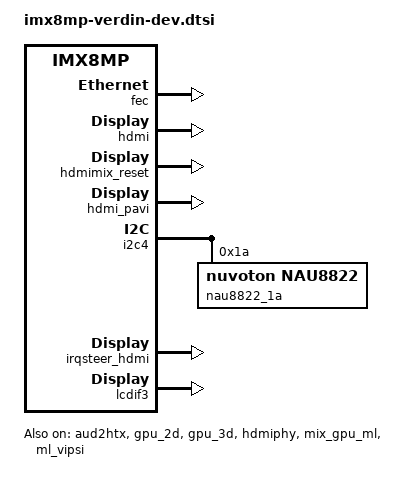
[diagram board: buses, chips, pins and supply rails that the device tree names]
// SPDX-License-Identifier: GPL-2.0+ OR MIT
/*
 * Copyright 2020 Toradex
 */

#include "imx8mp-verdin-dahlia.dtsi"

/ {
	sound_card: sound-card {
		compatible = "simple-audio-card";
		simple-audio-card,bitclock-master = <&dailink_master>;
		simple-audio-card,format = "i2s";
		simple-audio-card,frame-master = <&dailink_master>;
		simple-audio-card,name = "imx8mp-nau8822";
		simple-audio-card,routing =
			"Headphones", "LHP",
			"Headphones", "RHP",
			"Speaker", "LSPK",
			"Speaker", "RSPK",
			"Line Out", "AUXOUT1",
			"Line Out", "AUXOUT2",
			"LAUX", "Line In",
			"RAUX", "Line In",
			"LMICP",    "Mic In",
			"RMICP",    "Mic In";
		simple-audio-card,widgets =
			"Headphones", "Headphones",
			"Line Out", "Line Out",
			"Speaker", "Speaker",
			"Microphone", "Mic In",
			"Line", "Line In";

		dailink_master: simple-audio-card,codec {
			sound-dai = <&nau8822_1a>;
			clocks = <&audiomix_clk IMX8MP_CLK_AUDIOMIX_SAI1_MCLK1>;
		};

		simple-audio-card,cpu {
			sound-dai = <&sai1>;
		};
	};

	sound-hdmi {
		compatible = "fsl,imx-audio-cdnhdmi";
		model = "audio-hdmi";
		audio-cpu = <&aud2htx>;
		hdmi-out;
		constraint-rate = <44100>,
				<88200>,
				<176400>,
				<32000>,
				<48000>,
				<96000>,
				<192000>;
		status = "okay";
	};
};

&aud2htx {
	status = "okay";
};

&fec {
	status = "okay";
};

&gpio_expander_21 {
	status = "okay";
};

&gpu_2d {
	status = "okay";
};

&gpu_3d {
	status = "okay";
};

&hdmi {
	status = "okay";
};

&hdmimix_clk {
	status = "okay";
};

&hdmimix_reset {
	status = "okay";
};

&hdmiphy {
	status = "okay";
};

&hdmi_pavi {
	status = "okay";
};

/* Verdin I2C_1 */
&i2c4 {
	/* Audio Codec */
	nau8822_1a: codec-nau@1a {
		compatible = "nuvoton,nau8822";
		#sound-dai-cells = <0>;
		reg = <0x1a>;
	};
};

&irqsteer_hdmi {
	status = "okay";
};

/* LCDIF to on-SoC Samsung HDMI PHY */
&lcdif3 {
	status = "okay";
};

&mix_gpu_ml {
	status = "okay";
};

&ml_vipsi {
	status = "okay";
};

&wm8904_1a {
	status = "disabled";
};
